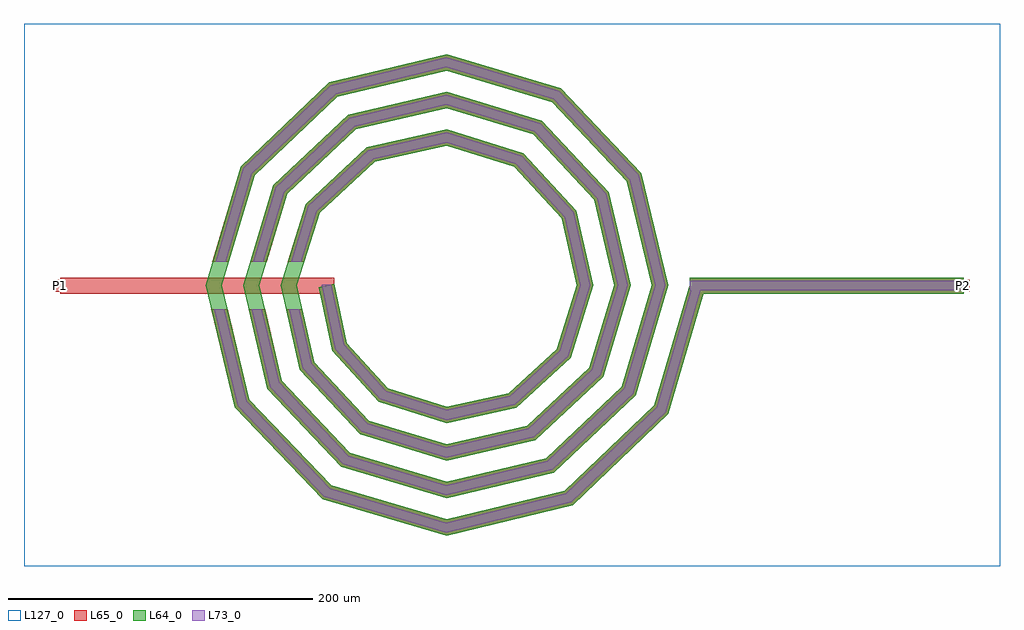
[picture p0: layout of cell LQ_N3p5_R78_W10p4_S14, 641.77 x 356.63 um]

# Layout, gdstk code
import gdstk
lib = gdstk.Library(unit=1e-6, precision=1e-09)
def R(c, l, rs):  # rectangles x0, y0, x1, y1
    for r in rs: c.add(gdstk.rectangle(r[:2], r[2:], *l))
def P(c, l, *ps):  # polygons
    for p in ps: c.add(gdstk.Polygon(p, *l))
L64_0 = (64, 0)
L65_0 = (65, 0)
L73_0 = (73, 0)
L127_0 = (127, 0)

lq_n3p5_r78_w10p4_s14 = lib.new_cell('LQ_N3p5_R78_W10p4_S14')
R(lq_n3p5_r78_w10p4_s14, L64_0, [(160.075,-5.2,340.075,5.2)])
P(lq_n3p5_r78_w10p4_s14, L64_0, [(-65.321,-38.008),(-38.6,-67.354),(0.243,-79.686),(41.077,-70.673),(72.688,-41.699),(85.856,0.226),(76.024,44.148),(44.797,78.023),(0.212,92.025),(-47.221,81.373),(-83.36,47.893),(-98.195,0.199),(-86.722,-50.295),(-50.988,-88.697),(0.188,-104.364),(53.37,-92.071),(94.035,-54.082),(110.534,0.178),(97.419,56.447),(57.175,99.373),(0.169,116.704),(-59.524,102.766),(-104.712,60.267),(-122.874,0.161),(-108.113,-62.602),(-63.358,-110.052),(0.154,-129.043),(65.681,-113.46),(115.392,-66.449),(135.213,0.147),(118.807,68.76),(69.54,120.732),(0.141,141.383),(-71.84,124.153),(-126.072,72.63),(-147.553,0.135),(-129.499,-74.92),(-75.719,-131.413),(0.13,-153.723),(78.001,-134.845),(136.753,-78.808),(160.285,1.463),(170.265,-1.463),(145.949,-84.41),(83.161,-144.295),(0.13,-164.487),(-81.329,-140.603),(-138.954,-80.071),(-158.317,0.135),(-135.257,78.249),(-76.982,133.614),(0.141,152.147),(75.169,129.911),(128.273,73.891),(145.977,0.147),(124.564,-72.089),(70.801,-122.933),(0.154,-139.807),(-69.01,-119.217),(-117.593,-67.709),(-133.636,0.161),(-113.869,65.932),(-64.617,112.253),(0.169,127.466),(62.854,108.522),(106.914,61.525),(121.296,0.178),(103.173,-59.777),(58.431,-101.575),(0.188,-115.126),(-56.701,-97.825),(-96.237,-55.337),(-108.955,0.199),(-92.475,53.625),(-52.241,90.899),(0.212,102.785),(50.552,87.125),(85.562,49.144),(96.614,0.226),(81.773,-47.479),(46.045,-80.226),(0.243,-90.444),(-44.409,-76.421),(-74.891,-42.944),(-83.977,-1.103),(-73.813,1.103)])
R(lq_n3p5_r78_w10p4_s14, L65_0, [(-253.695,-5.2,-73.695,5.2), (160.075,-5.2,340.075,5.2), (-257.695,-4,-249.695,4), (336.075,-4,344.075,4)])
P(lq_n3p5_r78_w10p4_s14, L65_0, [(-129.499,-74.92),(-75.719,-131.413),(0.13,-153.723),(78.001,-134.845),(136.753,-78.809),(160.285,1.463),(170.265,-1.463),(145.949,-84.41),(83.161,-144.295),(0.13,-164.487),(-81.329,-140.603),(-138.954,-80.071),(-154.518,-15.6),(-143.82,-15.6)],
  [(-108.114,-62.602),(-63.358,-110.052),(0.154,-129.043),(65.681,-113.46),(115.392,-66.449),(135.213,0.147),(118.807,68.76),(69.54,120.732),(0.141,141.383),(-71.84,124.153),(-126.072,72.63),(-142.908,15.6),(-153.752,15.6),(-135.257,78.249),(-76.982,133.614),(0.141,152.147),(75.169,129.911),(128.273,73.891),(145.977,0.147),(124.564,-72.089),(70.801,-122.933),(0.154,-139.807),(-69.01,-119.217),(-117.593,-67.709),(-129.911,-15.6),(-119.224,-15.6)],
  [(-86.722,-50.295),(-50.988,-88.697),(0.188,-104.364),(53.37,-92.071),(94.035,-54.082),(110.534,0.178),(97.419,56.447),(57.175,99.374),(0.169,116.704),(-59.524,102.766),(-104.712,60.267),(-118.137,15.6),(-128.996,15.6),(-113.87,65.932),(-64.617,112.253),(0.169,127.466),(62.854,108.522),(106.914,61.525),(121.296,0.178),(103.173,-59.777),(58.431,-101.575),(0.188,-115.126),(-56.701,-97.825),(-96.237,-55.337),(-105.337,-15.6),(-94.668,-15.6)],
  [(-38.6,-67.354),(0.243,-79.686),(41.077,-70.673),(72.688,-41.699),(85.856,0.226),(76.024,44.148),(44.797,78.023),(0.212,92.025),(-47.221,81.373),(-83.36,47.893),(-93.321,15.6),(-104.205,15.6),(-92.475,53.625),(-52.241,90.899),(0.212,102.785),(50.552,87.125),(85.562,49.144),(96.614,0.226),(81.773,-47.479),(46.045,-80.226),(0.243,-90.444),(-44.409,-76.421),(-74.891,-42.944),(-83.977,-1.103),(-73.813,1.103),(-65.321,-38.008)])
R(lq_n3p5_r78_w10p4_s14, L73_0, [(160.075,-3.2,340.075,3.2)])
P(lq_n3p5_r78_w10p4_s14, L73_0, [(-131.317,-75.911),(-76.798,-133.18),(0.08,-155.793),(78.993,-136.662),(138.522,-79.886),(162.204,0.9),(168.346,0.9),(144.181,-83.333),(82.169,-142.478),(0.08,-162.417),(-80.25,-138.836),(-137.136,-79.081),(-152.461,-15.6),(-145.877,-15.6)],
  [(-109.937,-63.585),(-64.445,-111.814),(0.095,-131.113),(66.666,-115.282),(117.156,-67.534),(137.283,0.09),(120.627,69.747),(70.622,122.497),(0.087,143.453),(-72.829,125.972),(-127.838,73.71),(-144.993,15.6),(-151.666,15.6),(-133.491,77.168),(-75.993,131.794),(0.087,150.077),(74.086,128.145),(126.453,72.905),(143.907,0.09),(122.8,-71.005),(69.816,-121.111),(0.095,-137.737),(-67.923,-117.454),(-115.77,-66.727),(-127.856,-15.6),(-121.279,-15.6)],
  [(-88.552,-51.265),(-52.086,-90.452),(0.116,-106.434),(54.344,-93.899),(95.792,-55.177),(112.604,0.11),(99.245,57.423),(58.267,101.133),(0.104,118.774),(-60.504,104.591),(-106.473,61.356),(-120.225,15.6),(-126.908,15.6),(-112.109,64.842),(-63.638,110.429),(0.104,125.397),(61.762,106.762),(105.088,60.548),(119.226,0.11),(101.416,-58.682),(57.458,-99.748),(0.116,-113.056),(-55.602,-96.069),(-94.407,-54.367),(-103.285,-15.6),(-96.72,-15.6)],
  [(-39.717,-69.097),(0.149,-81.755),(42.032,-72.51),(74.435,-42.811),(87.925,0.139),(77.858,45.109),(45.904,79.774),(0.131,94.094),(-48.186,83.205),(-85.113,48.995),(-95.414,15.6),(-102.112,15.6),(-90.722,52.523),(-51.276,89.067),(0.131,100.716),(49.445,85.375),(83.728,48.183),(94.545,0.139),(80.026,-46.368),(45.09,-78.389),(0.149,-88.375),(-43.292,-74.677),(-73.051,-41.995),(-82.022,0.679),(-75.768,0.679),(-67.162,-38.957)])
R(lq_n3p5_r78_w10p4_s14, L127_0, [(-277.695,-184.487,364.075,172.147)])
lq_n3p5_r78_w10p4_s14.add(gdstk.Label('P2', (340.075,0), layer=65, texttype=0))
lq_n3p5_r78_w10p4_s14.add(gdstk.Label('P1', (-253.695,0), layer=65, texttype=0))
lq_n3p5_r78_w10p4_s14.add(gdstk.Label('P2', (344.075,0), layer=145, texttype=0))
lq_n3p5_r78_w10p4_s14.add(gdstk.Label('P1', (-257.695,0), layer=145, texttype=0))

lib.write_gds('LQ_N3p5_R78_W10p4_S14.gds')
